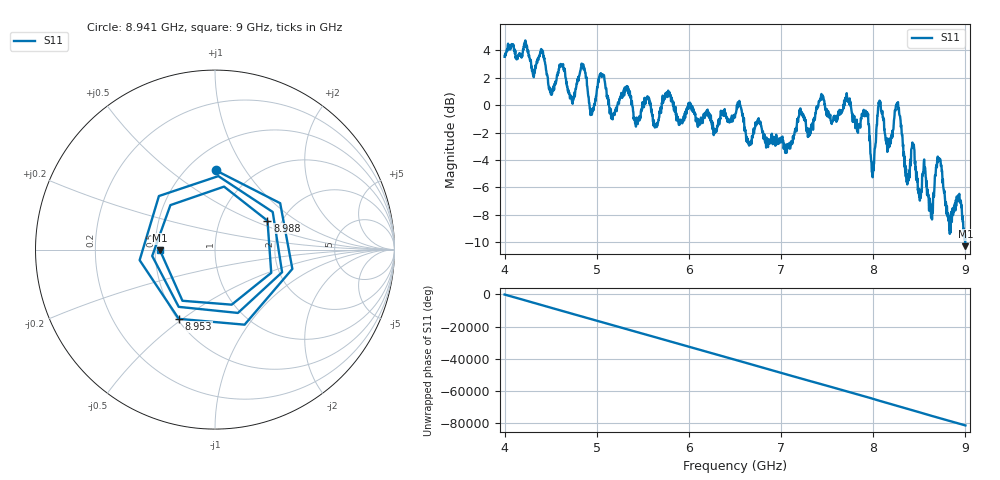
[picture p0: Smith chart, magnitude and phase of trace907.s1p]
! Created with skrf 1.8.0 (http://scikit-rf.org).
# Hz S RI R 50.0
!freq ReS11 ImS11
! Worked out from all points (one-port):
!   1601 points, 4 GHz to 9 GHz, reference 50 ohm
!   lowest |S11| = -10.3 dB at 9 GHz (marker M1), VSWR 1.88, Z = 26.6 - j0.275 ohm
!   |S11| at or under -10 dB: 8.999028 GHz to end of sweep
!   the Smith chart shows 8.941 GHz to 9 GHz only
!   S11 on the Smith chart (normalised r, x): 8.941 GHz: 0.68, +0.74; 8.953 GHz: 0.51, -0.48; 8.988 GHz: 1.69, +0.61; 9 GHz: 0.53, -0.01
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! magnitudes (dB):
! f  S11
! 4 GHz  3.5
! 4.406 GHz  4.0
! 4.503 GHz  0.8
! 4.625 GHz  2.9
! 4.728 GHz  0.5
! 4.853 GHz  3.0
! 4.944 GHz  -0.7
! 5.053 GHz  2.2
! 5.162 GHz  -1.0
! 5.25 GHz  0.5
! 5.875 GHz  -1.0
! 6.5 GHz  -0.9
! 7.125 GHz  -2.8
! 7.75 GHz  0.2
! 7.919 GHz  -0.4
! 7.994 GHz  -5.3
! 8.062 GHz  0.1
! 8.166 GHz  -3.1
! 8.266 GHz  0.2
! 8.375 GHz  -5.1
! 8.431 GHz  -3.1
! 8.628 GHz  -8.2
! 8.716 GHz  -3.9
! 8.819 GHz  -8.1
! 8.941 GHz  -7.1
! 8.953 GHz  -7.2
! 8.988 GHz  -9.5
! 9 GHz  -10.3
